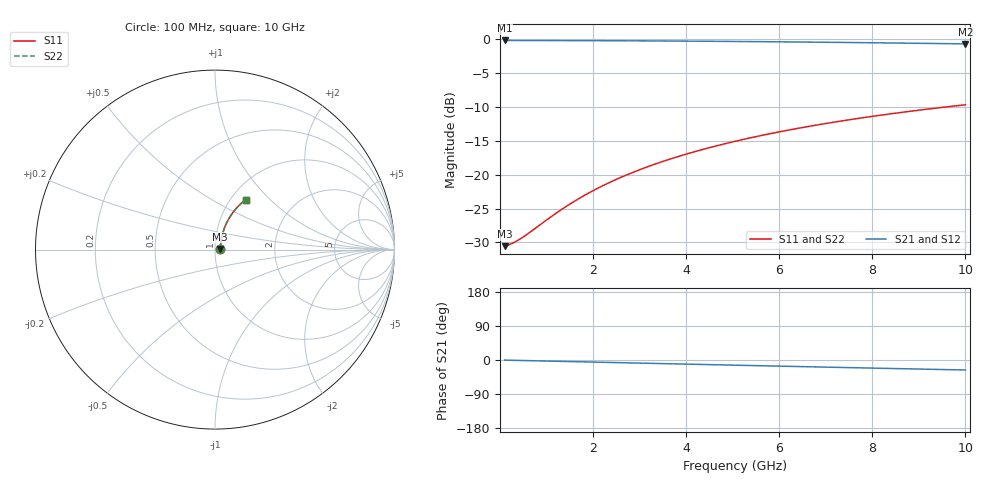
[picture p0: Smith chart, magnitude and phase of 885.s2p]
# Hz S RI R 50.00
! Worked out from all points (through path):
!   100 points, 100 MHz to 10 GHz, reference 50 ohm
!   highest |S21| = -0.26 dB at 100 MHz (marker M1); lowest = -0.8 dB at 10 GHz (marker M2)
!   group delay of S21, straight-line fit = 7.34 ps
!   lowest |S11| = -30.5 dB at 100 MHz (marker M3), VSWR 1.06, Z = 53 + j0.356 ohm
!   |S11| at or under -10 dB: start of sweep to 9.647 GHz
!   |S22| runs from -30.5 to -9.7 dB; largest |S21 - S12| = 0
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1e8  0.0295 0.00335  0.9705 -0.00463  0.9705 -0.00463  0.0295 0.00335
2e8  0.0297 0.0067  0.9702 -0.00926  0.9702 -0.00926  0.0297 0.0067
3e8  0.03 0.0101  0.97 -0.0139  0.97 -0.0139  0.03 0.0101
5e8  0.0304 0.0167  0.9695 -0.0231  0.9695 -0.0231  0.0304 0.0167
1.1e9  0.0324 0.0367  0.9675 -0.0508  0.9675 -0.0508  0.0324 0.0367
1.3e9  0.0332 0.0434  0.9666 -0.06  0.9666 -0.06  0.0332 0.0434
1.5e9  0.0342 0.05  0.9656 -0.0692  0.9656 -0.0692  0.0342 0.05
1.8e9  0.0359 0.0598  0.9638 -0.0829  0.9638 -0.0829  0.0359 0.0598
2.1e9  0.0379 0.0696  0.9618 -0.0965  0.9618 -0.0965  0.0379 0.0696
2.5e9  0.0409 0.0826  0.9586 -0.1146  0.9586 -0.1146  0.0409 0.0826
2.9e9  0.0444 0.0954  0.9549 -0.1325  0.9549 -0.1325  0.0444 0.0954
3.4e9  0.0494 0.1111  0.9496 -0.1547  0.9496 -0.1547  0.0494 0.1111
3.8e9  0.0539 0.1235  0.9449 -0.1722  0.9449 -0.1722  0.0539 0.1235
4.2e9  0.0589 0.1356  0.9396 -0.1895  0.9396 -0.1895  0.0589 0.1356
4.6e9  0.0643 0.1476  0.9339 -0.2065  0.9339 -0.2065  0.0643 0.1476
5.1e9  0.0716 0.1621  0.9262 -0.2275  0.9262 -0.2275  0.0716 0.1621
5.9e9  0.0846 0.1844  0.9125 -0.2602  0.9125 -0.2602  0.0846 0.1844
6.7e9  0.099 0.2055  0.8972 -0.2916  0.8972 -0.2916  0.099 0.2055
7.5e9  0.1148 0.2253  0.8804 -0.3218  0.8804 -0.3218  0.1148 0.2253
8.4e9  0.1339 0.2459  0.8601 -0.354  0.8601 -0.354  0.1339 0.2459
9.2e9  0.152 0.2626  0.8408 -0.3812  0.8408 -0.3812  0.152 0.2626
1e10  0.1709 0.2778  0.8205 -0.4068  0.8205 -0.4068  0.1709 0.2778
